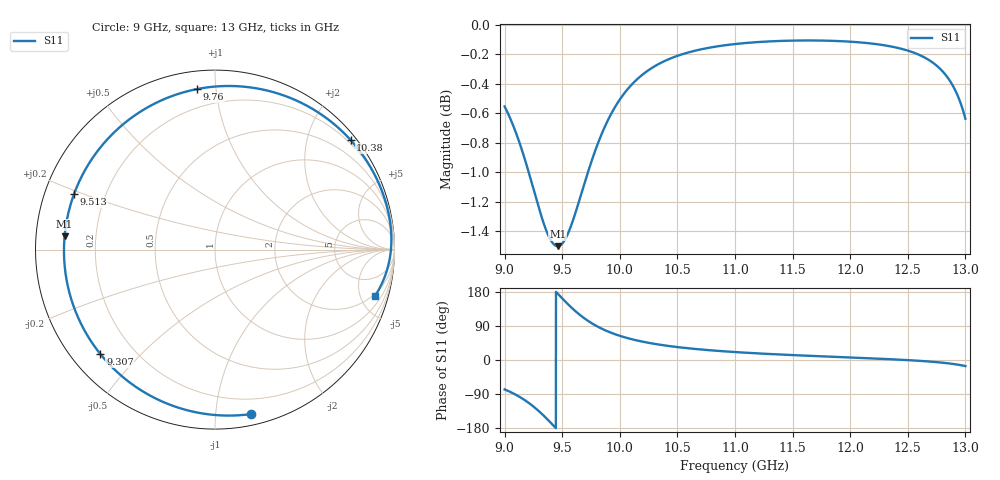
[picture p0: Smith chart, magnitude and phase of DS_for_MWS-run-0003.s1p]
! TOUCHSTONE file generated by CST DESIGN STUDIO
! Date and time: Tue Feb  4 18:22:09 2025
! Project name: C:\Work\MatlabApps\UnitCellOptimizationMatlab\CST\unitcell.cst
! Tree item: Tasks\Sweep1\SPara1\S-Parameters
! Header version: 2024
! Port assignment regex: !\s*Touchstone port\s*([0-9]+)\s*=\s*(CST MWS port|CST DES external port|CST DES block port)\s*(.+)\s* \(\"(.*)\"\)(\s*mode\s*([0-9]+))?.*
! Touchstone port assignment:
! Touchstone port 1 = CST DES external port 1 ("")
# GHz S MA R 50
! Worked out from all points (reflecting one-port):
!   4001 points, 9 GHz to 13 GHz, reference 50 ohm
!   lowest |S11| = -1.5 dB at 9.461 GHz (marker M1), VSWR 11.59, Z = 4.32 + j2.16 ohm
!   phase of S11 starts at -78 deg and turns -298 deg over the sweep
!   S11 on the Smith chart (normalised r, x): 9 GHz: 0.08, -1.24; 9.307 GHz: 0.08, -0.39; 9.513 GHz: 0.09, +0.19; 9.76 GHz: 0.09, +0.89; 10.38 GHz: 0.13, +2.82; 13 GHz: 1.77, -6.64
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9  0.9381 -77.6
9.029  0.9331 -81.4
9.095  0.9198 -91.3
9.172  0.9012 -105.3
9.241  0.8823 -120.5
9.307  0.8642 -137.6
9.35  0.8539 -150.0
9.389  0.8468 -162.0
9.425  0.8426 -173.4
9.461  0.8412 175.0
9.5  0.8429 162.6
9.513  0.8442 158.5
9.575  0.8543 139.8
9.633  0.8678 124.1
9.694  0.8836 109.6
9.76  0.9001 96.3
9.877  0.9246 77.9
10  0.9432 63.8
10.169  0.9597 50.2
10.377  0.9714 39.0
10.5  0.9759 34.1
10.722  0.9812 27.2
11  0.9849 21.0
11.5  0.9875 13.0
12  0.9867 6.6
12.5  0.9799 -0.3
12.789  0.9653 -6.7
13  0.9291 -16.0
